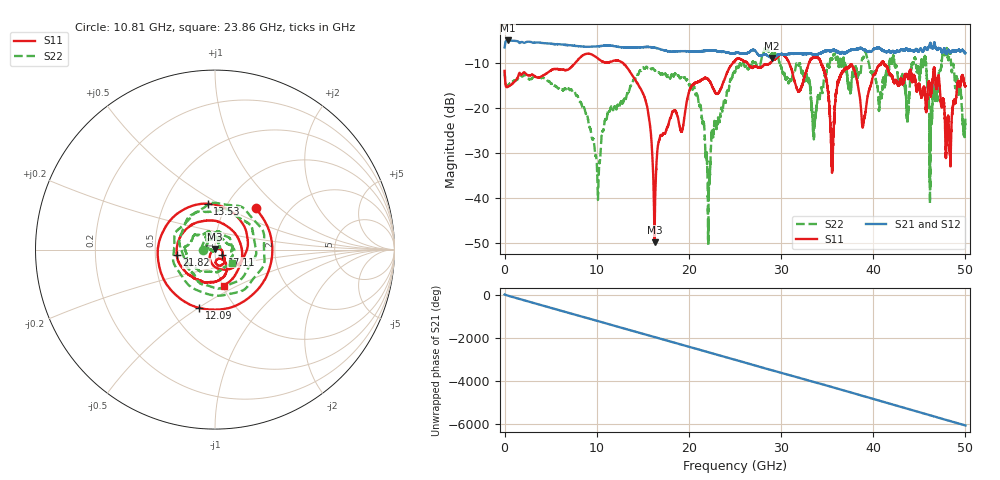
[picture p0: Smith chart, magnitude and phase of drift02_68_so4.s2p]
!Created with skrf (http://scikit-rf.org).
# Hz S RI R 50.0
!freq ReS11 ImS11 ReS21 ImS21 ReS12 ImS12 ReS22 ImS22
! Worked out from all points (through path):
!   10001 points, 300 kHz to 50 GHz, reference 50 ohm
!   highest |S21| = -5.04 dB at 325.3 MHz (marker M1); lowest = -8.9 dB at 28.98 GHz (marker M2)
!   group delay of S21, straight-line fit = 336 ps
!   lowest |S11| = -49.8 dB at 16.27 GHz (marker M3), VSWR 1.01, Z = 49.9 + j0.31 ohm
!   |S11| at or under -10 dB: start of sweep to 7.671 GHz; 12.81 GHz to 24.79 GHz (11.98 GHz wide, 63.7 % of centre); 41.14 GHz to end of sweep (the widest 3 of 12)
!   |S22| runs from -50.6 to -6.7 dB; largest |S21 - S12| = 0.03
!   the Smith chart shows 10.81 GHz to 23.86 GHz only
!   S11 on the Smith chart (normalised r, x): 10.81 GHz: 1.38, +0.70; 12.09 GHz: 0.69, -0.51; 13.53 GHz: 0.81, +0.45; 17.11 GHz: 1.08, -0.06; 21.82 GHz: 0.65, -0.04; 23.86 GHz: 1.01, -0.42
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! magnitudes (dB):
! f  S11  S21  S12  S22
! 300 kHz  -11.8  -6.6  -6.5  -11.6
! 325.3 MHz  -15.3  -5.0  -5.0  -15.1
! 8.335 GHz  -8.6  -6.4  -6.4  -19.1
! 10.1 GHz  -9.0  -6.3  -6.3  -38.7
! 10.81 GHz  -9.8  -6.2  -6.2  -23.6
! 12.09 GHz  -9.5  -6.4  -6.4  -20.4
! 13.53 GHz  -11.7  -6.6  -6.6  -16.1
! 16.27 GHz  -49.8  -6.6  -6.6  -11.7
! 16.67 GHz  -27.8  -6.9  -6.8  -12.1
! 17.11 GHz  -26.0  -7.1  -7.1  -12.3
! 21.82 GHz  -13.4  -7.3  -7.3  -30.2
! 23.86 GHz  -13.7  -7.6  -7.6  -18.2
! 25 GHz  -9.6  -7.8  -7.8  -12.0
! 28.98 GHz  -9.8  -8.9  -8.9  -8.0
! 33.34 GHz  -9.1  -8.0  -8.0  -19.9
! 35.54 GHz  -31.6  -7.2  -7.3  -9.2
! 36.79 GHz  -11.8  -7.9  -7.9  -9.6
! 41.67 GHz  -11.9  -7.4  -7.5  -11.6
! 45.5 GHz  -15.4  -6.9  -6.9  -9.4
! 46.25 GHz  -17.6  -6.1  -6.1  -22.0
! 48.13 GHz  -21.6  -7.2  -7.1  -9.3
! 50 GHz  -15.2  -7.9  -7.9  -22.8
